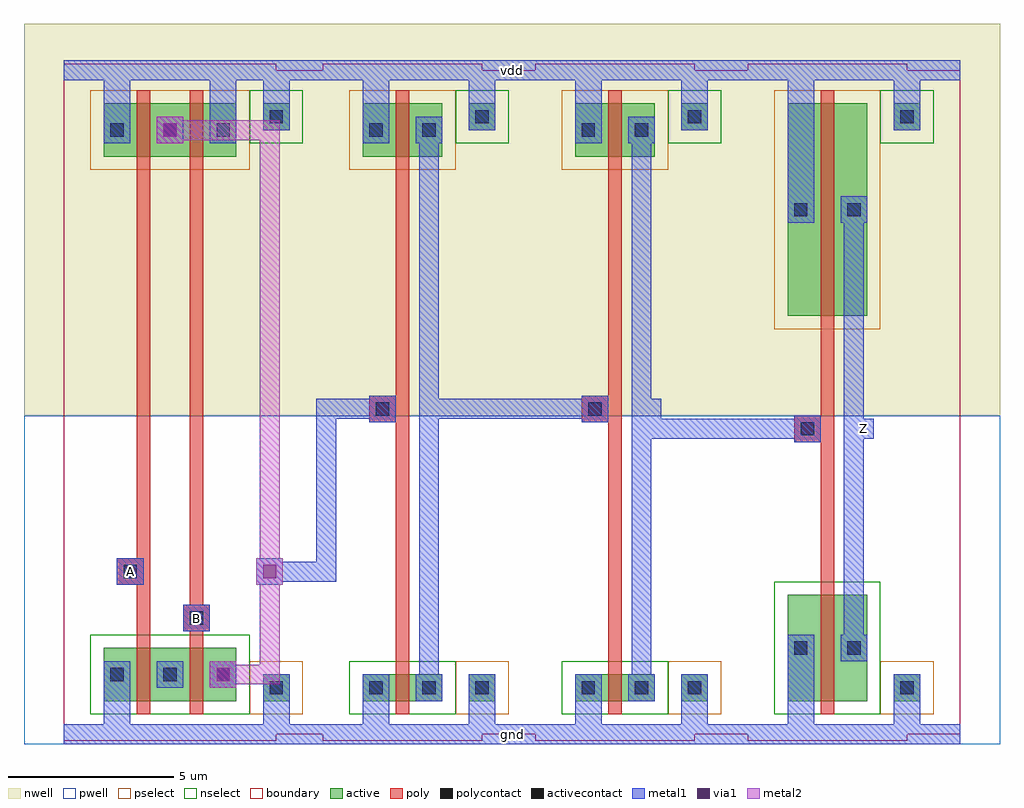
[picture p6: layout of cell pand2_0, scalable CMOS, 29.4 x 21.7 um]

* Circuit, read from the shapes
.subckt pand2_0 A B Z gnd vdd
M1 pnand2_1_0/nmos_m1_w1_600_a_p_2/D A gnd gnd nfet w=1.6u l=0.4u
M2 pdriver_1_1/A B pnand2_1_0/nmos_m1_w1_600_a_p_2/D gnd nfet w=1.6u l=0.4u
M3 pdriver_1_1/pinv_4_1/A pdriver_1_1/A gnd gnd nfet w=0.8u l=0.4u
M4 pdriver_1_1/pinv_3_2/A pdriver_1_1/pinv_4_1/A gnd gnd nfet w=0.8u l=0.4u
M5 Z pdriver_1_1/pinv_3_2/A gnd gnd nfet w=3.2u l=0.4u
M6 pdriver_1_1/A A vdd vdd pfet w=1.6u l=0.4u
M7 vdd B pdriver_1_1/A vdd pfet w=1.6u l=0.4u
M8 pdriver_1_1/pinv_4_1/A pdriver_1_1/A vdd vdd pfet w=1.6u l=0.4u
M9 pdriver_1_1/pinv_3_2/A pdriver_1_1/pinv_4_1/A vdd vdd pfet w=1.6u l=0.4u
M10 Z pdriver_1_1/pinv_3_2/A vdd vdd pfet w=6.4u l=0.4u
.ends

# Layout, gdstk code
import gdstk
lib = gdstk.Library(unit=1e-6, precision=1e-09)
def R(c, l, rs):  # rectangles x0, y0, x1, y1
    for r in rs: c.add(gdstk.rectangle(r[:2], r[2:], *l))
pwell = (41, 0)
nwell = (42, 0)
active = (43, 0)
pselect = (44, 0)
nselect = (45, 0)
poly = (46, 0)
polycontact = (47, 0)
activecontact = (48, 0)
metal1 = (49, 0)
via1 = (50, 0)
metal2 = (51, 0)
boundary = (63, 0)

contact_11 = lib.new_cell('contact_11')
R(contact_11, nwell, [(-1.2,-1.2,2,2)])
R(contact_11, active, [(0,0,0.8,0.8)])
R(contact_11, pselect, [(-0.4,-0.4,1.2,1.2)])
R(contact_11, activecontact, [(0.2,0.2,0.6,0.6)])
R(contact_11, metal1, [(0,0,0.8,0.8)])

pmos_m1_w1_600_a_p = lib.new_cell('pmos_m1_w1_600_a_p')
R(pmos_m1_w1_600_a_p, nwell, [(-1.2,-1.2,3.6,2.8)])
R(pmos_m1_w1_600_a_p, active, [(0,0,2.4,1.6)])
R(pmos_m1_w1_600_a_p, pselect, [(-0.4,-0.4,2.8,2)])
R(pmos_m1_w1_600_a_p, poly, [(1,-0.4,1.4,2), (1,-0.4,1.4,2)])
R(pmos_m1_w1_600_a_p, metal1, [(0,0.4,0.8,1.2), (1.6,0.4,2.4,1.2)])
R(pmos_m1_w1_600_a_p, boundary, [(-1.2,-1.2,3.6,2.8)])
pmos_m1_w1_600_a_p.add(gdstk.Reference(contact_11, (0,0.4)))
pmos_m1_w1_600_a_p.add(gdstk.Reference(contact_11, (1.6,0.4)))
pmos_m1_w1_600_a_p.add(gdstk.Label('G', (1.2,0.8), layer=46, texttype=0))
pmos_m1_w1_600_a_p.add(gdstk.Label('S', (0.4,0.8), layer=49, texttype=0))
pmos_m1_w1_600_a_p.add(gdstk.Label('D', (2,0.8), layer=49, texttype=0))

contact_16 = lib.new_cell('contact_16')
R(contact_16, pwell, [(-1.2,-1.2,2,2)])
R(contact_16, active, [(0,0,0.8,0.8)])
R(contact_16, nselect, [(-0.4,-0.4,1.2,1.2)])
R(contact_16, activecontact, [(0.2,0.2,0.6,0.6)])
R(contact_16, metal1, [(0,0,0.8,0.8)])

nmos_m1_w1_600_a_p = lib.new_cell('nmos_m1_w1_600_a_p')
R(nmos_m1_w1_600_a_p, pwell, [(-1.2,-1.2,3.6,2.8)])
R(nmos_m1_w1_600_a_p, active, [(0,0,2.4,1.6)])
R(nmos_m1_w1_600_a_p, nselect, [(-0.4,-0.4,2.8,2)])
R(nmos_m1_w1_600_a_p, poly, [(1,-0.4,1.4,2), (1,-0.4,1.4,2)])
R(nmos_m1_w1_600_a_p, metal1, [(0,0.4,0.8,1.2), (1.6,0.4,2.4,1.2)])
R(nmos_m1_w1_600_a_p, boundary, [(-1.2,-1.2,3.6,2.8)])
nmos_m1_w1_600_a_p.add(gdstk.Reference(contact_16, (0,0.4)))
nmos_m1_w1_600_a_p.add(gdstk.Reference(contact_16, (1.6,0.4)))
nmos_m1_w1_600_a_p.add(gdstk.Label('G', (1.2,0.8), layer=46, texttype=0))
nmos_m1_w1_600_a_p.add(gdstk.Label('S', (0.4,0.8), layer=49, texttype=0))
nmos_m1_w1_600_a_p.add(gdstk.Label('D', (2,0.8), layer=49, texttype=0))

contact_13 = lib.new_cell('contact_13')
R(contact_13, nwell, [(-1.2,-1.2,2,2)])
R(contact_13, active, [(0,0,0.8,0.8)])
R(contact_13, nselect, [(-0.4,-0.4,1.2,1.2)])
R(contact_13, activecontact, [(0.2,0.2,0.6,0.6)])
R(contact_13, metal1, [(0,0,0.8,0.8)])

contact_17 = lib.new_cell('contact_17')
R(contact_17, pwell, [(-1.2,-1.2,2,2)])
R(contact_17, active, [(0,0,0.8,0.8)])
R(contact_17, pselect, [(-0.4,-0.4,1.2,1.2)])
R(contact_17, activecontact, [(0.2,0.2,0.6,0.6)])
R(contact_17, metal1, [(0,0,0.8,0.8)])

contact_12 = lib.new_cell('contact_12')
R(contact_12, poly, [(0,0,0.8,0.8)])
R(contact_12, polycontact, [(0.2,0.2,0.6,0.6)])
R(contact_12, metal1, [(0,0,0.8,0.8)])

contact_18 = lib.new_cell('contact_18')
R(contact_18, metal1, [(0,0,0.8,0.8)])
R(contact_18, via1, [(0.2,0.2,0.6,0.6)])
R(contact_18, metal2, [(0,0,0.8,0.8)])

contact_19 = lib.new_cell('contact_19')
R(contact_19, metal1, [(0,0,0.8,0.8)])
R(contact_19, via1, [(0.2,0.2,0.6,0.6)])
R(contact_19, metal2, [(0,0,0.8,0.8)])

pnand2_1 = lib.new_cell('pnand2_1')
R(pnand2_1, pwell, [(-1.2,-0.3,9,9.6)])
R(pnand2_1, nwell, [(-1.2,9.6,9,21.4)])
R(pnand2_1, poly, [(2.2,3,2.6,17), (3.8,3,4.2,17), (3.8,3.1,4,3.9), (2,4.5,2.2,5.3)])
R(pnand2_1, metal1, [(0,-0.3,7.8,0.3), (1.2,-0.3,2,1.4), (6,0,6.8,1.4), (3.6,3.1,4.4,3.9), (1.6,4.5,2.4,5.3), (5.8,4.5,6.6,5.3), (1.2,17.8,2,20.3), (4.4,17.8,5.2,20.3), (6,18.6,6.8,20), (0,19.7,7.8,20.3)])
R(pnand2_1, metal2, [(4.8,1.5,6.2,2.1), (5.9,1.5,6.5,2.1), (5.9,1.8,6.5,4.9), (5.9,4.9,6.5,18.2), (3.2,17.9,6.2,18.5), (5.9,17.9,6.5,18.5)])
R(pnand2_1, boundary, [(0,0,7.8,20)])
pnand2_1.add(gdstk.Reference(pmos_m1_w1_600_a_p, (1.2,17.4)))
pnand2_1.add(gdstk.Reference(pmos_m1_w1_600_a_p, (2.8,17.4)))
pnand2_1.add(gdstk.Reference(nmos_m1_w1_600_a_p, (1.2,1)))
pnand2_1.add(gdstk.Reference(nmos_m1_w1_600_a_p, (2.8,1)))
pnand2_1.add(gdstk.Reference(contact_13, (6,18.2)))
pnand2_1.add(gdstk.Reference(contact_17, (6,1)))
pnand2_1.add(gdstk.Reference(contact_12, (3.6,3.1)))
pnand2_1.add(gdstk.Reference(contact_12, (1.6,4.5)))
pnand2_1.add(gdstk.Reference(contact_18, (2.8,17.8)))
pnand2_1.add(gdstk.Reference(contact_18, (4.4,1.4)))
pnand2_1.add(gdstk.Reference(contact_19, (5.8,4.5)))
pnand2_1.add(gdstk.Label('gnd', (3.9,0), layer=49, texttype=0))
pnand2_1.add(gdstk.Label('vdd', (3.9,20), layer=49, texttype=0))
pnand2_1.add(gdstk.Label('B', (4,3.5), layer=49, texttype=0))
pnand2_1.add(gdstk.Label('A', (2,4.9), layer=49, texttype=0))
pnand2_1.add(gdstk.Label('Z', (6.2,4.9), layer=49, texttype=0))

nmos_m1_w0_800_a_p = lib.new_cell('nmos_m1_w0_800_a_p')
R(nmos_m1_w0_800_a_p, pwell, [(-1.2,-1.2,3.6,2)])
R(nmos_m1_w0_800_a_p, active, [(0,0,2.4,0.8)])
R(nmos_m1_w0_800_a_p, nselect, [(-0.4,-0.4,2.8,1.2)])
R(nmos_m1_w0_800_a_p, poly, [(1,-0.4,1.4,1.2), (1,-0.4,1.4,1.2)])
R(nmos_m1_w0_800_a_p, metal1, [(0,0,0.8,0.8), (1.6,0,2.4,0.8)])
R(nmos_m1_w0_800_a_p, boundary, [(-1.2,-1.2,3.6,2)])
nmos_m1_w0_800_a_p.add(gdstk.Reference(contact_16, (0,0)))
nmos_m1_w0_800_a_p.add(gdstk.Reference(contact_16, (1.6,0)))
nmos_m1_w0_800_a_p.add(gdstk.Label('G', (1.2,0.4), layer=46, texttype=0))
nmos_m1_w0_800_a_p.add(gdstk.Label('S', (0.4,0.4), layer=49, texttype=0))
nmos_m1_w0_800_a_p.add(gdstk.Label('D', (2,0.4), layer=49, texttype=0))

pinv_4 = lib.new_cell('pinv_4')
R(pinv_4, pwell, [(-1.2,-0.3,7.6,9.6)])
R(pinv_4, nwell, [(-1.2,9.6,7.6,21.4)])
R(pinv_4, poly, [(2.2,2.2,2.6,17), (1.8,9.4,2.2,10.2)])
R(pinv_4, metal1, [(0,-0.3,6.4,0.3), (1.2,-0.3,2,1), (4.4,0,5.2,1.4), (2.9,1,3.5,18.6), (1.4,9.4,2.2,10.2), (3.2,9.5,3.8,10.1), (1.2,17.8,2,20.3), (4.4,18.6,5.2,20), (0,19.7,6.4,20.3)])
R(pinv_4, boundary, [(0,0,6.4,20)])
pinv_4.add(gdstk.Reference(pmos_m1_w1_600_a_p, (1.2,17.4)))
pinv_4.add(gdstk.Reference(nmos_m1_w0_800_a_p, (1.2,1)))
pinv_4.add(gdstk.Reference(contact_13, (4.4,18.2)))
pinv_4.add(gdstk.Reference(contact_17, (4.4,1)))
pinv_4.add(gdstk.Reference(contact_12, (1.4,9.4)))
pinv_4.add(gdstk.Label('gnd', (3.2,0), layer=49, texttype=0))
pinv_4.add(gdstk.Label('vdd', (3.2,20), layer=49, texttype=0))
pinv_4.add(gdstk.Label('A', (1.8,9.8), layer=49, texttype=0))
pinv_4.add(gdstk.Label('Z', (3.5,9.8), layer=49, texttype=0))

pmos_m1_w6_400_a_p = lib.new_cell('pmos_m1_w6_400_a_p')
R(pmos_m1_w6_400_a_p, nwell, [(-1.2,-1.2,3.6,7.6)])
R(pmos_m1_w6_400_a_p, active, [(0,0,2.4,6.4)])
R(pmos_m1_w6_400_a_p, pselect, [(-0.4,-0.4,2.8,6.8)])
R(pmos_m1_w6_400_a_p, poly, [(1,-0.4,1.4,6.8), (1,-0.4,1.4,6.8)])
R(pmos_m1_w6_400_a_p, metal1, [(0,2.8,0.8,3.6), (1.6,2.8,2.4,3.6)])
R(pmos_m1_w6_400_a_p, boundary, [(-1.2,-1.2,3.6,7.6)])
pmos_m1_w6_400_a_p.add(gdstk.Reference(contact_11, (0,2.8)))
pmos_m1_w6_400_a_p.add(gdstk.Reference(contact_11, (1.6,2.8)))
pmos_m1_w6_400_a_p.add(gdstk.Label('G', (1.2,3.2), layer=46, texttype=0))
pmos_m1_w6_400_a_p.add(gdstk.Label('S', (0.4,3.2), layer=49, texttype=0))
pmos_m1_w6_400_a_p.add(gdstk.Label('D', (2,3.2), layer=49, texttype=0))

nmos_m1_w3_200_a_p = lib.new_cell('nmos_m1_w3_200_a_p')
R(nmos_m1_w3_200_a_p, pwell, [(-1.2,-1.2,3.6,4.4)])
R(nmos_m1_w3_200_a_p, active, [(0,0,2.4,3.2)])
R(nmos_m1_w3_200_a_p, nselect, [(-0.4,-0.4,2.8,3.6)])
R(nmos_m1_w3_200_a_p, poly, [(1,-0.4,1.4,3.6), (1,-0.4,1.4,3.6)])
R(nmos_m1_w3_200_a_p, metal1, [(0,1.2,0.8,2), (1.6,1.2,2.4,2)])
R(nmos_m1_w3_200_a_p, boundary, [(-1.2,-1.2,3.6,4.4)])
nmos_m1_w3_200_a_p.add(gdstk.Reference(contact_16, (0,1.2)))
nmos_m1_w3_200_a_p.add(gdstk.Reference(contact_16, (1.6,1.2)))
nmos_m1_w3_200_a_p.add(gdstk.Label('G', (1.2,1.6), layer=46, texttype=0))
nmos_m1_w3_200_a_p.add(gdstk.Label('S', (0.4,1.6), layer=49, texttype=0))
nmos_m1_w3_200_a_p.add(gdstk.Label('D', (2,1.6), layer=49, texttype=0))

pinv_3 = lib.new_cell('pinv_3')
R(pinv_3, pwell, [(-1.2,-0.3,7.6,9.6)])
R(pinv_3, nwell, [(-1.2,9.6,7.6,21.4)])
R(pinv_3, poly, [(2.2,4.6,2.6,12.2), (1.8,8.8,2.2,9.6)])
R(pinv_3, metal1, [(0,-0.3,6.4,0.3), (1.2,-0.3,2,2.2), (4.4,0,5.2,1.4), (2.9,2.2,3.5,16.2), (1.4,8.8,2.2,9.6), (3.2,8.9,3.8,9.5), (1.2,15.4,2,20.3), (4.4,18.6,5.2,20), (0,19.7,6.4,20.3)])
R(pinv_3, boundary, [(0,0,6.4,20)])
pinv_3.add(gdstk.Reference(pmos_m1_w6_400_a_p, (1.2,12.6)))
pinv_3.add(gdstk.Reference(nmos_m1_w3_200_a_p, (1.2,1)))
pinv_3.add(gdstk.Reference(contact_13, (4.4,18.2)))
pinv_3.add(gdstk.Reference(contact_17, (4.4,1)))
pinv_3.add(gdstk.Reference(contact_12, (1.4,8.8)))
pinv_3.add(gdstk.Label('gnd', (3.2,0), layer=49, texttype=0))
pinv_3.add(gdstk.Label('vdd', (3.2,20), layer=49, texttype=0))
pinv_3.add(gdstk.Label('A', (1.8,9.2), layer=49, texttype=0))
pinv_3.add(gdstk.Label('Z', (3.5,9.2), layer=49, texttype=0))

pdriver_1 = lib.new_cell('pdriver_1')
R(pdriver_1, metal1, [(0,-0.3,0.6,0.3), (9.6,8.9,10.2,9.5), (9.9,8.9,14.6,9.5), (16,8.9,16.6,9.5), (9.6,9.2,10.2,9.8), (1.4,9.4,2.2,10.2), (3.5,9.5,8.2,10.1), (0,19.7,0.6,20.3)])
R(pdriver_1, boundary, [(0,0,19.2,20)])
pdriver_1.add(gdstk.Reference(pinv_4, (0,0)))
pdriver_1.add(gdstk.Reference(pinv_4, (6.4,0)))
pdriver_1.add(gdstk.Reference(pinv_3, (12.8,0)))
pdriver_1.add(gdstk.Label('vdd', (0.3,20), layer=49, texttype=0))
pdriver_1.add(gdstk.Label('gnd', (0.3,0), layer=49, texttype=0))
pdriver_1.add(gdstk.Label('Z', (16.3,9.2), layer=49, texttype=0))
pdriver_1.add(gdstk.Label('A', (1.8,9.8), layer=49, texttype=0))

pand2_0 = lib.new_cell('pand2_0')
R(pand2_0, metal1, [(0,-0.3,27,0.3), (3.6,3.1,4.4,3.9), (1.6,4.5,2.4,5.3), (6.2,4.6,7.9,5.2), (7.6,4.6,8.2,5.2), (7.6,4.9,8.2,9.8), (23.8,8.9,24.4,9.5), (7.6,9.5,8.2,10.1), (7.9,9.5,9.6,10.1), (0,19.7,27,20.3)])
R(pand2_0, boundary, [(0,0,27,20)])
pand2_0.add(gdstk.Reference(pnand2_1, (0,0)))
pand2_0.add(gdstk.Reference(pdriver_1, (7.8,0)))
pand2_0.add(gdstk.Label('vdd', (13.5,20), layer=49, texttype=0))
pand2_0.add(gdstk.Label('gnd', (13.5,0), layer=49, texttype=0))
pand2_0.add(gdstk.Label('Z', (24.1,9.2), layer=49, texttype=0))
pand2_0.add(gdstk.Label('A', (2,4.9), layer=49, texttype=0))
pand2_0.add(gdstk.Label('B', (4,3.5), layer=49, texttype=0))

lib.write_gds('pand2_0.gds')
